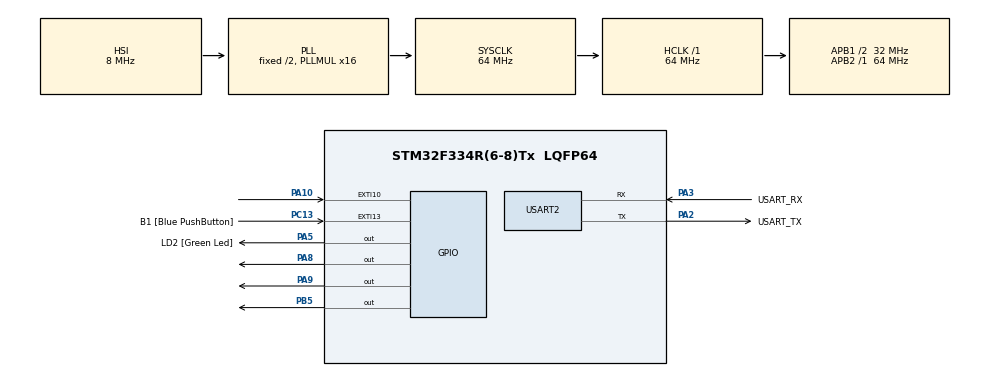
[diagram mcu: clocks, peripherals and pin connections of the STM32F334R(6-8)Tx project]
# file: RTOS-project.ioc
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FREERTOS.BinarySemaphores01=myBinarySem01,Dynamic,NULL
FREERTOS.Queues01=ToGreen,16,uint16_t,0,Dynamic,NULL,NULL
FREERTOS.Tasks01=DefaultTask,24,128,StartDefaultTask,Default,NULL,Dynamic,NULL,NULL;GreenTask,8,128,StartGreenTask,Default,NULL,Dynamic,NULL,NULL;YellowTask,8,128,StartYellowTask,Default,NULL,Dynamic,NULL,NULL;Blue,8,128,StartBlue,Default,NULL,Dynamic,NULL,NULL
Mcu.Family=STM32F3
Mcu.Name=STM32F334R(6-8)Tx
Mcu.Package=LQFP64
NVIC.EXTI15_10_IRQn=true\:5\:0\:false\:false\:true\:true\:true\:true\:true
NVIC.PriorityGroup=NVIC_PRIORITYGROUP_4
NVIC.TIM6_DAC1_IRQn=true\:15\:0\:false\:false\:true\:false\:false\:true\:true
NVIC.TimeBase=TIM6_DAC1_IRQn
NVIC.TimeBaseIP=TIM6
PA10.GPIO_ModeDefaultEXTI=GPIO_MODE_IT_FALLING
PA10.GPIO_PuPd=GPIO_PULLUP
PA10.Signal=GPXTI10
PA13.GPIO_Label=TMS
PA13.Mode=Serial_Wire
PA13.Signal=SYS_JTMS-SWDIO
PA14.GPIO_Label=TCK
PA14.Mode=Serial_Wire
PA14.Signal=SYS_JTCK-SWCLK
PA2.GPIO_Label=USART_TX
PA2.Mode=Asynchronous
PA2.Signal=USART2_TX
PA3.GPIO_Label=USART_RX
PA3.Mode=Asynchronous
PA3.Signal=USART2_RX
PA5.GPIO_Label=LD2 [Green Led]
PA5.Signal=GPIO_Output
PA8.Signal=GPIO_Output
PA9.Signal=GPIO_Output
PB3.GPIO_Label=SWO
PB3.Signal=SYS_JTDO-TRACESWO
PB5.Signal=GPIO_Output
PC13.GPIO_Label=B1 [Blue PushButton]
PC13.GPIO_ModeDefaultEXTI=GPIO_MODE_IT_FALLING
PC13.Signal=GPXTI13
PC14\ /\ OSC32_IN.Mode=LSE-External-Oscillator
PC14\ /\ OSC32_IN.Signal=RCC_OSC32_IN
PC15\ /\ OSC32_OUT.GPIO_Label=RCC_OSC32_OUT
PC15\ /\ OSC32_OUT.Mode=LSE-External-Oscillator
PC15\ /\ OSC32_OUT.Signal=RCC_OSC32_OUT
PF0\ /\ OSC_IN.Mode=HSE-External-Clock-Source
PF0\ /\ OSC_IN.Signal=RCC_OSC_IN
PF1\ /\ OSC_OUT.Signal=RCC_OSC_OUT
ProjectManager.HeapSize=0x200
ProjectManager.StackSize=0x400
ProjectManager.TargetToolchain=STM32CubeIDE
RCC.AHBFreq_Value=64000000
RCC.APB1CLKDivider=RCC_HCLK_DIV2
RCC.APB1Freq_Value=32000000
RCC.APB1TimFreq_Value=64000000
RCC.APB2Freq_Value=64000000
RCC.APB2TimFreq_Value=64000000
RCC.CortexFreq_Value=64000000
RCC.FLatency-AdvancedSettings=FLASH_LATENCY_2
RCC.HCLKFreq_Value=64000000
RCC.HSE_VALUE=8000000
RCC.HSI_VALUE=8000000
RCC.PLLMUL=RCC_PLL_MUL16
RCC.SYSCLKFreq_VALUE=64000000
RCC.SYSCLKSourceVirtual=RCC_SYSCLKSOURCE_PLLCLK
USART2.VirtualMode-Asynchronous=VM_ASYNC
VP_FREERTOS_VS_CMSIS_V2.Mode=CMSIS_V2
VP_SYS_VS_tim6.Mode=TIM6
board=NUCLEO-F334R8

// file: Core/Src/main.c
/* USER CODE BEGIN Header */
/**
  ******************************************************************************
  * @file           : main.c
  * @brief          : Main program body
  ******************************************************************************
  * @attention
  *
  * Copyright (c) 2022 STMicroelectronics.
  * All rights reserved.
  *
  * This software is licensed under terms that can be found in the LICENSE file
  * in the root directory of this software component.
  * If no LICENSE file comes with this software, it is provided AS-IS.
  *
  ******************************************************************************
  */
/* USER CODE END Header */
#include "main.h"
#include "cmsis_os.h"

UART_HandleTypeDef huart2;

/* Definitions for DefaultTask */
osThreadId_t DefaultTaskHandle;
const osThreadAttr_t DefaultTask_attributes = {
  .name = "DefaultTask",
  .stack_size = 128 * 4,
  .priority = (osPriority_t) osPriorityNormal,
};
/* Definitions for GreenTask */
osThreadId_t GreenTaskHandle;
const osThreadAttr_t GreenTask_attributes = {
  .name = "GreenTask",
  .stack_size = 128 * 4,
  .priority = (osPriority_t) osPriorityLow,
};
/* Definitions for YellowTask */
osThreadId_t YellowTaskHandle;
const osThreadAttr_t YellowTask_attributes = {
  .name = "YellowTask",
  .stack_size = 128 * 4,
  .priority = (osPriority_t) osPriorityLow,
};
/* Definitions for Blue */
osThreadId_t BlueHandle;
const osThreadAttr_t Blue_attributes = {
  .name = "Blue",
  .stack_size = 128 * 4,
  .priority = (osPriority_t) osPriorityLow,
};
/* Definitions for ToGreen */
osMessageQueueId_t ToGreenHandle;
const osMessageQueueAttr_t ToGreen_attributes = {
  .name = "ToGreen"
};
/* Definitions for myBinarySem01 */
osSemaphoreId_t myBinarySem01Handle;
const osSemaphoreAttr_t myBinarySem01_attributes = {
  .name = "myBinarySem01"
};

void SystemClock_Config(void);
static void MX_GPIO_Init(void);
static void MX_USART2_UART_Init(void);
void StartDefaultTask(void *argument);
void StartGreenTask(void *argument);
void StartYellowTask(void *argument);
void StartBlue(void *argument);

int main(void)
{

  /* MCU Configuration--------------------------------------------------------*/

  /* Reset of all peripherals, Initializes the Flash interface and the Systick. */
  HAL_Init();

  /* Configure the system clock */
  SystemClock_Config();

  /* Initialize all configured peripherals */
  MX_GPIO_Init();
  MX_USART2_UART_Init();

  /* Init scheduler */
  osKernelInitialize();

  /* Create the semaphores(s) */
  /* creation of myBinarySem01 */
  myBinarySem01Handle = osSemaphoreNew(1, 1, &myBinarySem01_attributes);

  /* Create the queue(s) */
  /* creation of ToGreen */
  ToGreenHandle = osMessageQueueNew (16, sizeof(uint16_t), &ToGreen_attributes);

  /* Create the thread(s) */
  /* creation of DefaultTask */
  DefaultTaskHandle = osThreadNew(StartDefaultTask, NULL, &DefaultTask_attributes);

  /* creation of GreenTask */
  GreenTaskHandle = osThreadNew(StartGreenTask, NULL, &GreenTask_attributes);

  /* creation of YellowTask */
  YellowTaskHandle = osThreadNew(StartYellowTask, NULL, &YellowTask_attributes);

  /* creation of Blue */
  BlueHandle = osThreadNew(StartBlue, NULL, &Blue_attributes);

  /* Start scheduler */
  osKernelStart();

  /* We should never get here as control is now taken by the scheduler */
  /* Infinite loop */
  while (1)
  {

  }
}

void SystemClock_Config(void)
{
  RCC_OscInitTypeDef RCC_OscInitStruct = {0};
  RCC_ClkInitTypeDef RCC_ClkInitStruct = {0};

  /** Initializes the RCC Oscillators according to the specified parameters
  * in the RCC_OscInitTypeDef structure.
  */
  RCC_OscInitStruct.OscillatorType = RCC_OSCILLATORTYPE_HSI;
  RCC_OscInitStruct.HSIState = RCC_HSI_ON;
  RCC_OscInitStruct.HSICalibrationValue = RCC_HSICALIBRATION_DEFAULT;
  RCC_OscInitStruct.PLL.PLLState = RCC_PLL_ON;
  RCC_OscInitStruct.PLL.PLLSource = RCC_PLLSOURCE_HSI;
  RCC_OscInitStruct.PLL.PLLMUL = RCC_PLL_MUL16;
  if (HAL_RCC_OscConfig(&RCC_OscInitStruct) != HAL_OK)
  {
    Error_Handler();
  }

  /** Initializes the CPU, AHB and APB buses clocks
  */
  RCC_ClkInitStruct.ClockType = RCC_CLOCKTYPE_HCLK|RCC_CLOCKTYPE_SYSCLK
                              |RCC_CLOCKTYPE_PCLK1|RCC_CLOCKTYPE_PCLK2;
  RCC_ClkInitStruct.SYSCLKSource = RCC_SYSCLKSOURCE_PLLCLK;
  RCC_ClkInitStruct.AHBCLKDivider = RCC_SYSCLK_DIV1;
  RCC_ClkInitStruct.APB1CLKDivider = RCC_HCLK_DIV2;
  RCC_ClkInitStruct.APB2CLKDivider = RCC_HCLK_DIV1;

  if (HAL_RCC_ClockConfig(&RCC_ClkInitStruct, FLASH_LATENCY_2) != HAL_OK)
  {
    Error_Handler();
  }
}

static void MX_USART2_UART_Init(void)
{

  huart2.Instance = USART2;
  huart2.Init.BaudRate = 38400;
  huart2.Init.WordLength = UART_WORDLENGTH_8B;
  huart2.Init.StopBits = UART_STOPBITS_1;
  huart2.Init.Parity = UART_PARITY_NONE;
  huart2.Init.Mode = UART_MODE_TX_RX;
  huart2.Init.HwFlowCtl = UART_HWCONTROL_NONE;
  huart2.Init.OverSampling = UART_OVERSAMPLING_16;
  huart2.Init.OneBitSampling = UART_ONE_BIT_SAMPLE_DISABLE;
  huart2.AdvancedInit.AdvFeatureInit = UART_ADVFEATURE_NO_INIT;
  if (HAL_UART_Init(&huart2) != HAL_OK)
  {
    Error_Handler();
  }

}

static void MX_GPIO_Init(void)
{
  GPIO_InitTypeDef GPIO_InitStruct = {0};

  /* GPIO Ports Clock Enable */
  __HAL_RCC_GPIOC_CLK_ENABLE();
  __HAL_RCC_GPIOF_CLK_ENABLE();
  __HAL_RCC_GPIOA_CLK_ENABLE();
  __HAL_RCC_GPIOB_CLK_ENABLE();

  /*Configure GPIO pin Output Level */
  HAL_GPIO_WritePin(GPIOA, LD2_Pin|GPIO_PIN_8|GPIO_PIN_9, GPIO_PIN_RESET);

  /*Configure GPIO pin Output Level */
  HAL_GPIO_WritePin(GPIOB, GPIO_PIN_5, GPIO_PIN_RESET);

  /*Configure GPIO pin : B1_Pin */
  GPIO_InitStruct.Pin = B1_Pin;
  GPIO_InitStruct.Mode = GPIO_MODE_IT_FALLING;
  GPIO_InitStruct.Pull = GPIO_NOPULL;
  HAL_GPIO_Init(B1_GPIO_Port, &GPIO_InitStruct);

  /*Configure GPIO pins : LD2_Pin PA8 PA9 */
  GPIO_InitStruct.Pin = LD2_Pin|GPIO_PIN_8|GPIO_PIN_9;
  GPIO_InitStruct.Mode = GPIO_MODE_OUTPUT_PP;
  GPIO_InitStruct.Pull = GPIO_NOPULL;
  GPIO_InitStruct.Speed = GPIO_SPEED_FREQ_LOW;
  HAL_GPIO_Init(GPIOA, &GPIO_InitStruct);

  /*Configure GPIO pin : PA10 */
  GPIO_InitStruct.Pin = GPIO_PIN_10;
  GPIO_InitStruct.Mode = GPIO_MODE_IT_FALLING;
  GPIO_InitStruct.Pull = GPIO_PULLUP;
  HAL_GPIO_Init(GPIOA, &GPIO_InitStruct);

  /*Configure GPIO pin : PB5 */
  GPIO_InitStruct.Pin = GPIO_PIN_5;
  GPIO_InitStruct.Mode = GPIO_MODE_OUTPUT_PP;
  GPIO_InitStruct.Pull = GPIO_NOPULL;
  GPIO_InitStruct.Speed = GPIO_SPEED_FREQ_LOW;
  HAL_GPIO_Init(GPIOB, &GPIO_InitStruct);

  /* EXTI interrupt init*/
  HAL_NVIC_SetPriority(EXTI15_10_IRQn, 5, 0);
  HAL_NVIC_EnableIRQ(EXTI15_10_IRQn);

}

/* USER CODE BEGIN 4 */

// function that will send messages through UART and can be seen on USB
void display(char *message)
{
	HAL_UART_Transmit(&huart2, (uint8_t*)message, strlen(message), HAL_MAX_DELAY);
	//38400
}
void display_num(uint8_t num)
{
	char buf[10];
	sprintf(buf, "%li \r\n", num);
	HAL_UART_Transmit(&huart2, &buf, strlen(buf), HAL_MAX_DELAY);
	//38400
}

void HAL_GPIO_EXTI_Callback(uint16_t GPIO_Pin)
{
	if(GPIO_Pin == GPIO_PIN_10)
	{
		char *m = "Brown\r\n";
		display(m);
	}

	if(GPIO_Pin == B1_Pin)
	{
		char *m = "Button\r\n";
		display(m);
		osSemaphoreRelease(myBinarySem01Handle);
	}
}

/* USER CODE END 4 */

void StartDefaultTask(void *argument)
{
  /* USER CODE BEGIN 5 */

	char *m = "Default\r\n";
	uint8_t x = 0;

	// second option:
	// char m[5] = {'H', 'i', '\r', '\n', '\0'};

  /* Infinite loop */
  for(;;)
  {
	  display(m);
	  HAL_GPIO_TogglePin(GPIOA, GPIO_PIN_5);

	  display_num(x);

	  osMessageQueuePut(ToGreenHandle, &x, 0, 200);

	  if(++x>9)
	  {
		  x = 0;
	  }

	  osDelay(1000);
  }
  /* USER CODE END 5 */
}

void StartGreenTask(void *argument)
{
  /* USER CODE BEGIN StartGreenTask */

	char *m = "Green\r\n";
	uint8_t res = 0;

  /* Infinite loop */
  for(;;)
  {
	  display(m);

	  osMessageQueueGet(ToGreenHandle, &res, NULL, 1000);
	  // wait forever if you want to block the task when there is no data in the queue

	  if(res % 2 == 0)
	  {
		  HAL_GPIO_TogglePin(GPIOA, GPIO_PIN_9);
	  }

	  //osDelay(1000);
  }
  /* USER CODE END StartGreenTask */
}

void StartYellowTask(void *argument)
{
  /* USER CODE BEGIN StartYellowTask */

	char *m = "Yellow\r\n";

  /* Infinite loop */
  for(;;)
  {
	  osSemaphoreRelease(myBinarySem01Handle);
	  display(m);
	  HAL_GPIO_TogglePin(GPIOB, GPIO_PIN_5);

	  osDelay(4000);
  }
  /* USER CODE END StartYellowTask */
}

void StartBlue(void *argument)
{
  /* USER CODE BEGIN StartBlue */

	char *m = "Blue\r\n";

  /* Infinite loop */
  for(;;)
  {

	osSemaphoreAcquire(myBinarySem01Handle, osWaitForever);

	display(m);
	HAL_GPIO_TogglePin(GPIOA, GPIO_PIN_8);

  }
  /* USER CODE END StartBlue */
}

void HAL_TIM_PeriodElapsedCallback(TIM_HandleTypeDef *htim)
{
  if (htim->Instance == TIM6) {
    HAL_IncTick();
  }
}

void Error_Handler(void)
{
  __disable_irq();
  while (1)
  {
  }
}
